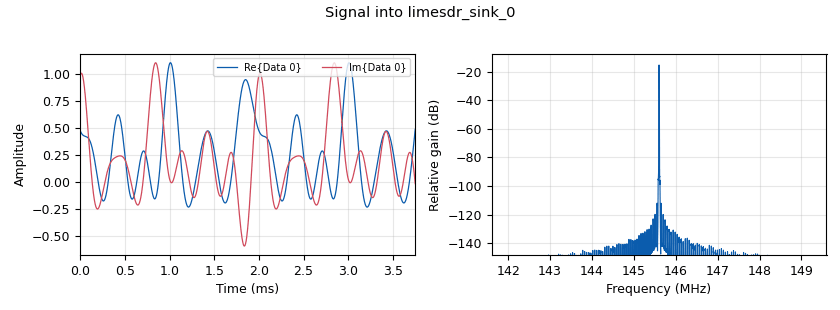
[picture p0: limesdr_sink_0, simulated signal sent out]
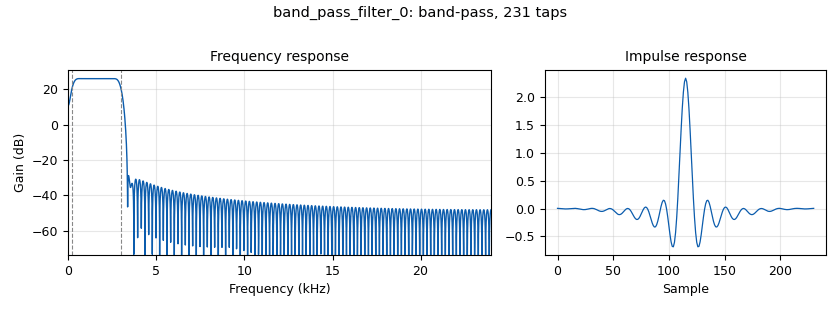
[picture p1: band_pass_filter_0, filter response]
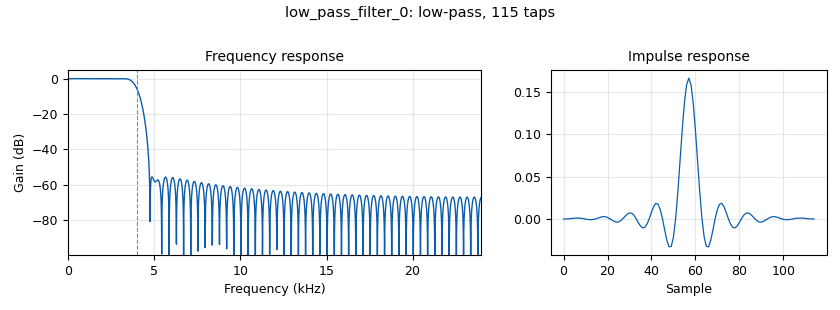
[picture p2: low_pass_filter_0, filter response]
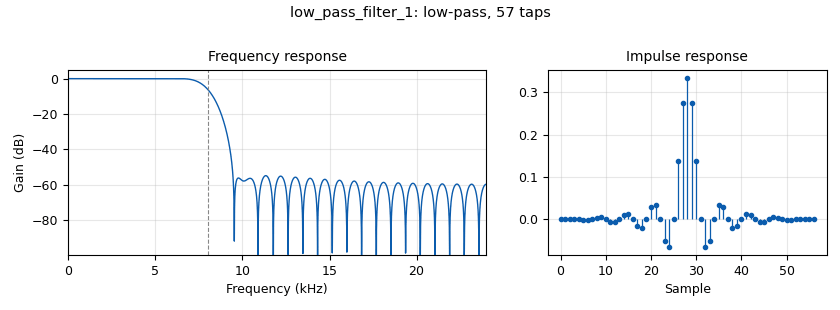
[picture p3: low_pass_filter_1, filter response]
<?xml version='1.0' encoding='utf-8'?>
<?grc format='1' created='3.7.11'?>
<flow_graph>
<block>
<key>options</key>
<param><key>id</key><value>top_block</value></param>
<param><key>_enabled</key><value>0</value></param>
<param><key>generate_options</key><value>wx_gui</value></param>
</block>
<block>
<key>variable</key>
<param><key>id</key><value>samp_rate</value></param>
<param><key>value</key><value>48000</value></param>
</block>
<block>
<key>analog_nbfm_rx</key>
<param><key>id</key><value>analog_nbfm_rx_0</value></param>
<param><key>audio_rate</key><value>48000</value></param>
<param><key>max_dev</key><value>5e3</value></param>
<param><key>quad_rate</key><value>48000</value></param>
<param><key>tau</key><value>75e-6</value></param>
</block>
<block>
<key>analog_nbfm_tx</key>
<param><key>id</key><value>analog_nbfm_tx_0</value></param>
<param><key>audio_rate</key><value>48000</value></param>
<param><key>max_dev</key><value>5e3</value></param>
<param><key>fh</key><value>-1.0</value></param>
<param><key>quad_rate</key><value>48000</value></param>
<param><key>tau</key><value>75e-6</value></param>
</block>
<block>
<key>analog_sig_source_x</key>
<param><key>id</key><value>analog_sig_source_x_0</value></param>
<param><key>amp</key><value>.500</value></param>
<param><key>freq</key><value>500</value></param>
<param><key>offset</key><value>0</value></param>
<param><key>type</key><value>float</value></param>
<param><key>samp_rate</key><value>samp_rate</value></param>
<param><key>waveform</key><value>analog.GR_COS_WAVE</value></param>
</block>
<block>
<key>analog_simple_squelch_cc</key>
<param><key>id</key><value>analog_simple_squelch_cc_0</value></param>
<param><key>alpha</key><value>1</value></param>
<param><key>threshold</key><value>-80</value></param>
</block>
<block>
<key>audio_sink</key>
<param><key>id</key><value>audio_sink_0</value></param>
<param><key>samp_rate</key><value>samp_rate</value></param>
</block>
<block>
<key>band_pass_filter</key>
<param><key>id</key><value>band_pass_filter_0</value></param>
<param><key>decim</key><value>1</value></param>
<param><key>type</key><value>fir_filter_fff</value></param>
<param><key>gain</key><value>20</value></param>
<param><key>high_cutoff_freq</key><value>3e3</value></param>
<param><key>low_cutoff_freq</key><value>200</value></param>
<param><key>samp_rate</key><value>samp_rate</value></param>
<param><key>width</key><value>500</value></param>
<param><key>win</key><value>firdes.WIN_HAMMING</value></param>
</block>
<block>
<key>blocks_multiply_const_vxx</key>
<param><key>id</key><value>blocks_multiply_const_vxx_0</value></param>
<param><key>const</key><value>.05</value></param>
<param><key>type</key><value>float</value></param>
</block>
<block>
<key>blocks_throttle</key>
<param><key>id</key><value>blocks_throttle_0</value></param>
<param><key>samples_per_second</key><value>samp_rate</value></param>
<param><key>type</key><value>float</value></param>
</block>
<block>
<key>limesdr_sink</key>
<param><key>id</key><value>limesdr_sink_0</value></param>
<param><key>calibr_bandw_ch0</key><value>5e6</value></param>
<param><key>digital_bandw_ch0</key><value>0</value></param>
<param><key>gain_dB_ch0</key><value>45</value></param>
<param><key>calibr_bandw_ch1</key><value>5e6</value></param>
<param><key>digital_bandw_ch1</key><value>0</value></param>
<param><key>gain_dB_ch1</key><value>30</value></param>
<param><key>pa_path_ch1</key><value>1</value></param>
<param><key>channel_mode</key><value>0</value></param>
<param><key>oversample</key><value>0</value></param>
<param><key>rf_freq</key><value>145.6e6</value></param>
<param><key>samp_rate</key><value>8e6</value></param>
</block>
<block>
<key>limesdr_source</key>
<param><key>id</key><value>limesdr_source_0</value></param>
<param><key>analog_bandw_ch0</key><value>5e6</value></param>
<param><key>calibr_bandw_ch0</key><value>5e6</value></param>
<param><key>digital_bandw_ch0</key><value>0</value></param>
<param><key>gain_dB_ch0</key><value>30</value></param>
<param><key>analog_bandw_ch1</key><value>5e6</value></param>
<param><key>calibr_bandw_ch1</key><value>5e6</value></param>
<param><key>digital_bandw_ch1</key><value>0</value></param>
<param><key>gain_dB_ch1</key><value>30</value></param>
<param><key>channel_mode</key><value>0</value></param>
<param><key>oversample</key><value>0</value></param>
<param><key>rf_freq</key><value>100e6</value></param>
<param><key>samp_rate</key><value>samp_rate</value></param>
</block>
<block>
<key>low_pass_filter</key>
<param><key>id</key><value>low_pass_filter_0</value></param>
<param><key>cutoff_freq</key><value>4000</value></param>
<param><key>decim</key><value>1</value></param>
<param><key>type</key><value>fir_filter_ccf</value></param>
<param><key>gain</key><value>1</value></param>
<param><key>samp_rate</key><value>samp_rate</value></param>
<param><key>width</key><value>1e3</value></param>
<param><key>win</key><value>firdes.WIN_HAMMING</value></param>
</block>
<block>
<key>low_pass_filter</key>
<param><key>id</key><value>low_pass_filter_1</value></param>
<param><key>cutoff_freq</key><value>8e3</value></param>
<param><key>decim</key><value>1</value></param>
<param><key>type</key><value>fir_filter_ccf</value></param>
<param><key>gain</key><value>1</value></param>
<param><key>samp_rate</key><value>samp_rate</value></param>
<param><key>width</key><value>2e3</value></param>
<param><key>win</key><value>firdes.WIN_HAMMING</value></param>
</block>
<block>
<key>rational_resampler_xxx</key>
<param><key>id</key><value>rational_resampler_xxx_0</value></param>
<param><key>decim</key><value>3</value></param>
<param><key>interp</key><value>500</value></param>
<param><key>taps</key><value></value></param>
<param><key>type</key><value>ccc</value></param>
</block>
<block>
<key>rational_resampler_xxx</key>
<param><key>id</key><value>rational_resampler_xxx_1</value></param>
<param><key>decim</key><value>8000000</value></param>
<param><key>interp</key><value>48000</value></param>
<param><key>taps</key><value></value></param>
<param><key>type</key><value>ccc</value></param>
</block>
<connection><source_block_id>analog_nbfm_rx_0</source_block_id><sink_block_id>blocks_multiply_const_vxx_0</sink_block_id><source_key>0</source_key><sink_key>0</sink_key></connection>
<connection><source_block_id>analog_nbfm_tx_0</source_block_id><sink_block_id>low_pass_filter_0</sink_block_id><source_key>0</source_key><sink_key>0</sink_key></connection>
<connection><source_block_id>analog_sig_source_x_0</source_block_id><sink_block_id>blocks_throttle_0</sink_block_id><source_key>0</source_key><sink_key>0</sink_key></connection>
<connection><source_block_id>analog_simple_squelch_cc_0</source_block_id><sink_block_id>analog_nbfm_rx_0</sink_block_id><source_key>0</source_key><sink_key>0</sink_key></connection>
<connection><source_block_id>band_pass_filter_0</source_block_id><sink_block_id>analog_nbfm_tx_0</sink_block_id><source_key>0</source_key><sink_key>0</sink_key></connection>
<connection><source_block_id>blocks_multiply_const_vxx_0</source_block_id><sink_block_id>audio_sink_0</sink_block_id><source_key>0</source_key><sink_key>0</sink_key></connection>
<connection><source_block_id>blocks_throttle_0</source_block_id><sink_block_id>band_pass_filter_0</sink_block_id><source_key>0</source_key><sink_key>0</sink_key></connection>
<connection><source_block_id>limesdr_source_0</source_block_id><sink_block_id>rational_resampler_xxx_1</sink_block_id><source_key>0</source_key><sink_key>0</sink_key></connection>
<connection><source_block_id>low_pass_filter_0</source_block_id><sink_block_id>rational_resampler_xxx_0</sink_block_id><source_key>0</source_key><sink_key>0</sink_key></connection>
<connection><source_block_id>low_pass_filter_1</source_block_id><sink_block_id>analog_simple_squelch_cc_0</sink_block_id><source_key>0</source_key><sink_key>0</sink_key></connection>
<connection><source_block_id>rational_resampler_xxx_0</source_block_id><sink_block_id>limesdr_sink_0</sink_block_id><source_key>0</source_key><sink_key>0</sink_key></connection>
<connection><source_block_id>rational_resampler_xxx_1</source_block_id><sink_block_id>low_pass_filter_1</sink_block_id><source_key>0</source_key><sink_key>0</sink_key></connection>
</flow_graph>
